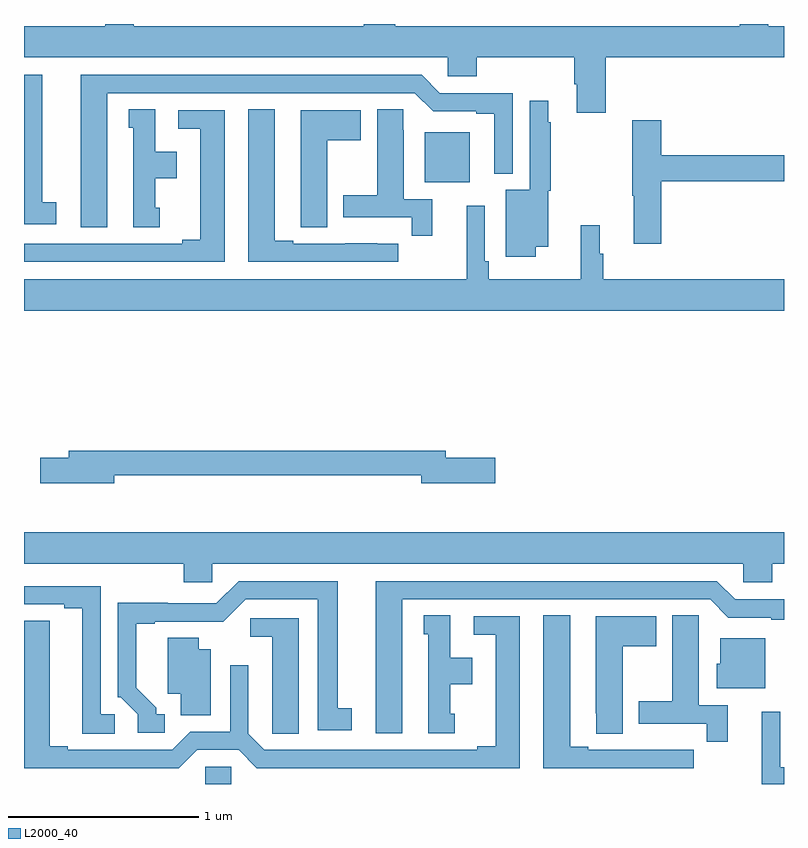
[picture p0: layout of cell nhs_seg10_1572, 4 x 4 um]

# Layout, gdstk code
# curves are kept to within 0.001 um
import gdstk
lib = gdstk.Library(unit=1e-6, precision=1e-09)
def R(c, l, rs):  # rectangles x0, y0, x1, y1
    for r in rs: c.add(gdstk.rectangle(r[:2], r[2:], *l))
def P(c, l, *ps):  # polygons
    for p in ps: c.add(gdstk.Polygon(p, *l))
L2000_40 = (2000, 40)

nhs_seg10_1572 = lib.new_cell('nhs_seg10_1572')
R(nhs_seg10_1572, L2000_40, [(193.953,1288.5,194.091,1288.59), (195.11,1291.667,195.346,1291.93)])
P(nhs_seg10_1572, L2000_40, [(196.061,1292.324),(197,1292.324),(197,1292.488),(196.918,1292.488),(196.918,1292.5),(196.766,1292.5),(196.766,1292.488),(194.954,1292.488),(194.954,1292.5),(194.789,1292.5),(194.789,1292.488),(193.578,1292.488),(193.578,1292.5),(193.427,1292.5),(193.427,1292.488),(193,1292.488),(193,1292.324),(195.231,1292.324),(195.231,1292.226),(195.383,1292.226),(195.383,1292.324),(195.896,1292.324),(195.896,1292.182),(195.908,1292.182),(195.908,1292.034),(196.061,1292.034)],
  [(193.438,1292.136),(195.057,1292.136),(195.153,1292.04),(195.38,1292.04),(195.38,1292.028),(195.476,1292.028),(195.476,1291.712),(195.573,1291.712),(195.573,1292.136),(195.189,1292.136),(195.093,1292.232),(193.298,1292.232),(193.298,1291.431),(193.438,1291.431)],
  [(193.171,1291.562),(193.096,1291.562),(193.096,1292.232),(193,1292.232),(193,1291.446),(193.171,1291.446)],
  [(195.694,1291.328),(195.76,1291.328),(195.76,1291.623),(195.772,1291.623),(195.772,1291.982),(195.76,1291.982),(195.76,1292.095),(195.663,1292.095),(195.663,1291.627),(195.536,1291.627),(195.536,1291.275),(195.694,1291.275)],
  [(193.714,1291.533),(193.69,1291.533),(193.69,1291.688),(193.804,1291.688),(193.804,1291.828),(193.69,1291.828),(193.69,1292.051),(193.55,1292.051),(193.55,1291.953),(193.574,1291.953),(193.574,1291.431),(193.714,1291.431)],
  [(194.971,1291.344),(194.858,1291.344),(194.858,1291.345),(194.692,1291.345),(194.692,1291.344),(194.416,1291.344),(194.416,1291.359),(194.32,1291.359),(194.32,1292.051),(194.18,1292.051),(194.18,1291.248),(194.971,1291.248)],
  [(195.149,1291.578),(194.998,1291.578),(194.998,1291.94),(194.997,1291.94),(194.997,1292.051),(194.858,1292.051),(194.858,1291.599),(194.681,1291.599),(194.681,1291.482),(195.04,1291.482),(195.04,1291.386),(195.149,1291.386)],
  [(194.596,1291.888),(194.773,1291.888),(194.773,1292.047),(194.456,1292.047),(194.456,1291.537),(194.457,1291.537),(194.457,1291.429),(194.596,1291.429)],
  [(194.056,1292.046),(193.812,1292.046),(193.812,1291.95),(193.928,1291.95),(193.928,1291.364),(193.832,1291.364),(193.832,1291.344),(193,1291.344),(193,1291.248),(194.056,1291.248)],
  [(196.355,1291.672),(197,1291.672),(197,1291.808),(196.355,1291.808),(196.355,1291.993),(196.201,1291.993),(196.201,1291.595),(196.208,1291.595),(196.208,1291.344),(196.355,1291.344)],
  [(197,1291.156),(196.049,1291.156),(196.049,1291.29),(196.03,1291.29),(196.03,1291.441),(195.931,1291.441),(195.931,1291.156),(195.446,1291.156),(195.446,1291.252),(195.426,1291.252),(195.426,1291.543),(195.329,1291.543),(195.329,1291.156),(193,1291.156),(193,1290.992),(197,1290.992)],
  [(193.474,1290.126),(195.092,1290.126),(195.092,1290.083),(195.481,1290.083),(195.481,1290.218),(195.22,1290.218),(195.22,1290.254),(193.235,1290.254),(193.235,1290.218),(193.086,1290.218),(193.086,1290.083),(193.474,1290.083)],
  [(193.992,1289.66),(196.785,1289.66),(196.785,1289.562),(196.937,1289.562),(196.937,1289.66),(197,1289.66),(197,1289.824),(193,1289.824),(193,1289.66),(193.841,1289.66),(193.841,1289.562),(193.992,1289.562)],
  [(194.992,1289.472),(196.611,1289.472),(196.707,1289.376),(196.934,1289.376),(196.934,1289.364),(197,1289.364),(197,1289.472),(196.743,1289.472),(196.647,1289.568),(194.852,1289.568),(194.852,1288.767),(194.992,1288.767)],
  [(193.741,1288.866),(193.696,1288.866),(193.696,1288.901),(193.591,1289.006),(193.591,1289.343),(193.687,1289.343),(193.687,1289.355),(194.048,1289.354),(194.166,1289.472),(194.546,1289.472),(194.546,1288.782),(194.725,1288.782),(194.725,1288.898),(194.65,1288.898),(194.65,1289.568),(194.13,1289.568),(194.013,1289.451),(193.757,1289.451),(193.757,1289.453),(193.494,1289.453),(193.494,1288.956),(193.509,1288.956),(193.599,1288.866),(193.599,1288.77),(193.741,1288.77)],
  [(193.477,1288.866),(193.404,1288.866),(193.404,1289.541),(193,1289.541),(193,1289.445),(193.211,1289.445),(193.211,1289.425),(193.307,1289.425),(193.307,1288.765),(193.477,1288.765)],
  [(196.525,1288.68),(196.412,1288.68),(196.412,1288.681),(196.246,1288.681),(196.246,1288.68),(195.97,1288.68),(195.97,1288.695),(195.874,1288.695),(195.874,1289.387),(195.734,1289.387),(195.734,1288.584),(196.525,1288.584)],
  [(196.703,1288.914),(196.552,1288.914),(196.552,1289.276),(196.551,1289.276),(196.551,1289.387),(196.412,1289.387),(196.412,1288.935),(196.235,1288.935),(196.235,1288.818),(196.594,1288.818),(196.594,1288.722),(196.703,1288.722)],
  [(195.268,1288.869),(195.244,1288.869),(195.244,1289.024),(195.358,1289.024),(195.358,1289.164),(195.244,1289.164),(195.244,1289.387),(195.104,1289.387),(195.104,1289.289),(195.128,1289.289),(195.128,1288.767),(195.268,1288.767)],
  [(196.15,1289.224),(196.327,1289.224),(196.327,1289.383),(196.01,1289.383),(196.01,1288.873),(196.011,1288.873),(196.011,1288.765),(196.15,1288.765)],
  [(193.911,1288.68),(194.129,1288.68),(194.225,1288.584),(195.61,1288.584),(195.61,1289.382),(195.366,1289.382),(195.366,1289.286),(195.482,1289.286),(195.482,1288.7),(195.386,1288.7),(195.386,1288.68),(194.265,1288.68),(194.181,1288.764),(194.181,1289.125),(194.085,1289.125),(194.085,1288.776),(193.875,1288.776),(193.779,1288.68),(193.231,1288.68),(193.231,1288.7),(193.135,1288.7),(193.135,1289.36),(193,1289.36),(193,1288.584),(193.815,1288.584)],
  [(194.446,1289.373),(194.19,1289.373),(194.19,1289.276),(194.306,1289.276),(194.306,1288.873),(194.307,1288.873),(194.307,1288.765),(194.446,1288.765)],
  [(193.984,1289.209),(193.921,1289.209),(193.921,1289.27),(193.757,1289.27),(193.757,1288.976),(193.826,1288.976),(193.826,1288.861),(193.984,1288.861)],
  [(196.9,1289.266),(196.664,1289.266),(196.664,1289.133),(196.646,1289.133),(196.646,1289.003),(196.9,1289.003)],
  [(197,1288.588),(196.98,1288.588),(196.98,1288.879),(196.883,1288.879),(196.883,1288.5),(197,1288.5)])

lib.write_gds('nhs_seg10_1572.gds')
